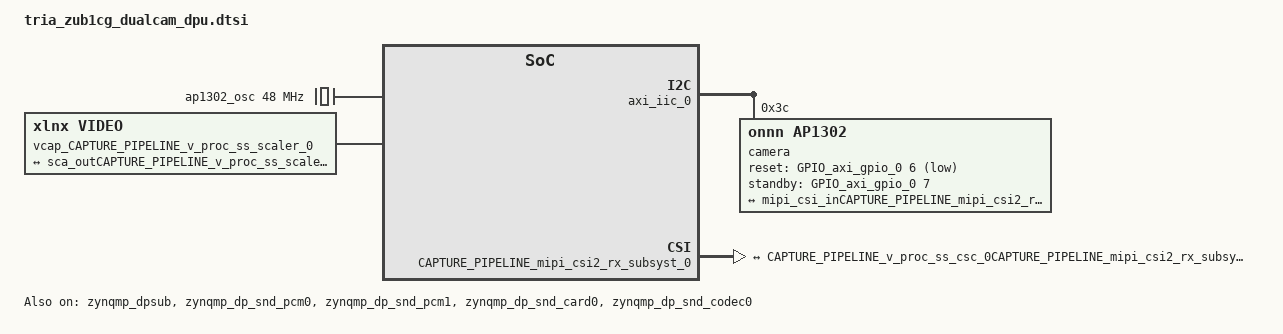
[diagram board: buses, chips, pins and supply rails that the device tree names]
/dts-v1/;
/plugin/;

#include <dt-bindings/gpio/gpio.h>
#include <dt-bindings/media/xilinx-vip.h>

&fpga_full {
	#address-cells = <2>;
	#size-cells = <2>;
	firmware-name = "tria_zub1cg_dualcam_dpu.bit.bin";
	resets = <&zynqmp_reset 116>, <&zynqmp_reset 117>, <&zynqmp_reset 118>, <&zynqmp_reset 119>;
};

&amba {
	afi0: afi0 {
		compatible = "xlnx,afi-fpga";
		//config-afi = <0 0>, <1 0>, <2 0>, <3 0>, <4 0>, <5 0>, <6 0>, <7 0>, <8 0>, <9 0>, <10 0>, <11 0>, <12 0>, <13 0>, <14 0xa00>, <15 0x000>;
		config-afi = <0 0>, <1 0>, <2 0>, <3 0>, <4 1>, <5 1>, <6 0>, <7 0>, <8 0>, <9 0>, <10 0>, <11 0>, <12 0>, <13 0>, <14 0xa00>, <15 0x000>;
		resets = <&zynqmp_reset 116>, <&zynqmp_reset 117>, <&zynqmp_reset 118>, <&zynqmp_reset 119>;
		reset-names = "pl0", "pl1", "pl2", "pl3";
	};		
};

// Added by 0xABBEEF
&amba {
	ap1302_osc: ap1302oscillator {
		compatible = "fixed-clock";
		#clock-cells = <0>;
		clock-frequency  = <48000000>;
		clock-output-names = "ap1302osc";
	};
	misc_clk_0: misc_clk_0 {
		#clock-cells = <0>;
		clock-frequency = <200000000>;
		compatible = "fixed-clock";
	};
};

&amba {
   axi_iic_0: i2c@a0010000 {
	#address-cells = <1>;
	#size-cells = <0>;
	clock-names = "s_axi_aclk";
	clocks = <&zynqmp_clk 71>;
	compatible = "xlnx,axi-iic-2.1", "xlnx,xps-iic-2.00.a";
	interrupt-names = "iic2intc_irpt";
	interrupt-parent = <&gic>;
	interrupts = <0 106 4>;
	reg = <0x0 0xa0010000 0x0 0x10000>;
			
	camera@3c {
		status = "okay";
		compatible = "onnn,ap1302";
		reg = <0x3c>;

		clocks = <&ap1302_osc>;

		reset-gpios = <&GPIO_axi_gpio_0 6 GPIO_ACTIVE_LOW>;
		standby-gpios = <&GPIO_axi_gpio_0 7 GPIO_ACTIVE_HIGH>;

		port@2 {
			reg = <2>;
			ias_out0: endpoint {
				remote-endpoint = <&mipi_csi_inCAPTURE_PIPELINE_mipi_csi2_rx_subsyst_0>;
				link-frequencies = /bits/ 64 <900000000>;
				clock-lanes = <0>;
				data-lanes = <1 2 3 4>;
			};
		};

		sensors {
			#address-cells = <1>;
			#size-cells = <0>;

			sensor,model = "ar0144";
			sensor,resolution = <1280 800>;
			sensor,format = <0x3011>; // MEDIA_BUS_FMT_SGRBG12_1X12
			sensor,primary-clk-rst-only;

			sensor@0 {
				reg = <0>;
				status = "okay";
				sip = <0x3320>;
			};

			sensor@1 {
				reg = <1>;
				status = "okay";
				sip = <0x3330>;
			};
		};
	};
   };
};

&amba {
		CAPTURE_PIPELINE_mipi_csi2_rx_subsyst_0: mipi_csi2_rx_subsystem@b0000000 {
			clock-names = "lite_aclk", "dphy_clk_200M", "video_aclk";
			clocks = <&misc_clk_0>, <&misc_clk_0>, <&misc_clk_0>;
			//compatible = "xlnx,mipi-csi2-rx-subsystem-5.2", "xlnx,mipi-csi2-rx-subsystem-5.0"; // Removed by 0xABBEEF
			compatible = "xlnx,mipi-csi2-rx-subsystem-5.0"; // Added by 0xABBEEF
			interrupt-names = "csirxss_csi_irq";
			interrupt-parent = <&gic>;
			interrupts = <0 104 4>;
			reg = <0x0 0xb0000000 0x0 0x2000>;
			xlnx,axis-tdata-width = <32>;
			//xlnx,csi-pxl-format = <0x18>; // Removed by 0xABBEEF
			xlnx,csi-pxl-format = <0x1e>; // XCSI_DT_YUV4228B  // Added by 0xABBEEF
			xlnx,dphy-present ;
			xlnx,en-active-lanes ;
			xlnx,max-lanes = <4>;
			xlnx,ppc = <1>;
			xlnx,vc = <4>;
			xlnx,vfb ;
			mipi_csi_portsCAPTURE_PIPELINE_mipi_csi2_rx_subsyst_0: ports {
				#address-cells = <1>;
				#size-cells = <0>;
				mipi_csi_port1CAPTURE_PIPELINE_mipi_csi2_rx_subsyst_0: port@1 {
					/* Fill cfa-pattern=rggb for raw data types, other fields video-format and video-width user needs to fill */
					reg = <1>;
					xlnx,cfa-pattern = "rggb";
					//xlnx,video-format = <12>; // Removed by 0xABBEEF
					xlnx,video-format = <XVIP_VF_YUV_422>; // Added by 0xABBEEF
					xlnx,video-width = <8>;
					mipi_csirx_outCAPTURE_PIPELINE_mipi_csi2_rx_subsyst_0: endpoint {
						remote-endpoint = <&CAPTURE_PIPELINE_v_proc_ss_csc_0CAPTURE_PIPELINE_mipi_csi2_rx_subsyst_0>;
					};
				};
				mipi_csi_port0CAPTURE_PIPELINE_mipi_csi2_rx_subsyst_0: port@0 {
					/* Fill cfa-pattern=rggb for raw data types, other fields video-format,video-width user needs to fill */
					/* User need to add something like remote-endpoint=<&out> under the node csiss_in:endpoint */
					reg = <0>;
					xlnx,cfa-pattern = "rggb";
					//xlnx,video-format = <12>; // Removed by 0xABBEEF
					xlnx,video-format = <XVIP_VF_YUV_422>; // Added by 0xABBEEF
					xlnx,video-width = <8>;
					mipi_csi_inCAPTURE_PIPELINE_mipi_csi2_rx_subsyst_0: endpoint {
						data-lanes = <1 2 3 4>;
						remote-endpoint = <&ias_out0>; // Added by 0xABBEEF
					};
				};
			};
		};
		CAPTURE_PIPELINE_v_frmbuf_wr_0: v_frmbuf_wr@b0020000 {
			#dma-cells = <1>;
			clock-names = "ap_clk";
			clocks = <&misc_clk_0>;
			compatible = "xlnx,v-frmbuf-wr-2.4", "xlnx,axi-frmbuf-wr-v2.2";
			interrupt-names = "interrupt";
			interrupt-parent = <&gic>;
			interrupts = <0 105 4>;
			reg = <0x0 0xb0020000 0x0 0x10000>;
			xlnx,dma-addr-width = <32>;
			xlnx,dma-align = <8>;
			xlnx,max-height = <2160>;
			xlnx,max-width = <3840>;
			xlnx,pixels-per-clock = <1>;
			xlnx,s-axi-ctrl-addr-width = <0x7>;
			xlnx,s-axi-ctrl-data-width = <0x20>;
			xlnx,vid-formats = "rgb888", "uyvy", "y8", "yuyv";
			xlnx,video-width = <8>;
			reset-gpios = <&GPIO_axi_gpio_0 3 GPIO_ACTIVE_LOW>; // Added by 0xABBEEF
		};
		CAPTURE_PIPELINE_v_proc_ss_csc_0: v_proc_ss@b0010000 {
			clock-names = "aclk";
			clocks = <&misc_clk_0>;
			#compatible = "xlnx,v-proc-ss-2.3", "xlnx,vpss-csc", "xlnx,v-vpss-csc"; // Removed by 0xABBEEF
			compatible = "xlnx,v-vpss-csc"; // Added by 0xABBEEF
			reg = <0x0 0xb0010000 0x0 0x10000>;
			xlnx,colorspace-support = <1>;
			xlnx,csc-enable-window = "true";
			xlnx,max-height = <2160>;
			xlnx,max-width = <3840>;
			xlnx,num-video-components = <3>;
			xlnx,samples-per-clk = <1>;
			xlnx,topology = <3>;
			xlnx,use-uram = <0>;
			xlnx,video-width = <8>;
			reset-gpios = <&GPIO_axi_gpio_0 4 GPIO_ACTIVE_LOW>; // Added by 0xABBEEF
			csc_portsCAPTURE_PIPELINE_v_proc_ss_csc_0: ports {
				#address-cells = <1>;
				#size-cells = <0>;
				csc_port1CAPTURE_PIPELINE_v_proc_ss_csc_0: port@1 {
					/* For xlnx,video-format user needs to fill as per their requirement */
					reg = <1>;
					//xlnx,video-format = <3>; // Removed by 0xABBEEF
					xlnx,video-format = <XVIP_VF_YUV_422>; // Added by 0xABBEEF
					xlnx,video-width = <8>;
					csc_outCAPTURE_PIPELINE_v_proc_ss_csc_0: endpoint {
						remote-endpoint = <&CAPTURE_PIPELINE_v_proc_ss_scaler_0CAPTURE_PIPELINE_v_proc_ss_csc_0>;
					};
				};
				csc_port0CAPTURE_PIPELINE_v_proc_ss_csc_0: port@0 {
					/* For xlnx,video-format user needs to fill as per their requirement */
					reg = <0>;
					//xlnx,video-format = <3>; // Removed by 0xABBEEF
					xlnx,video-format = <XVIP_VF_YUV_422>; // Added by 0xABBEEF
					xlnx,video-width = <8>;
					CAPTURE_PIPELINE_v_proc_ss_csc_0CAPTURE_PIPELINE_mipi_csi2_rx_subsyst_0: endpoint {
						remote-endpoint = <&mipi_csirx_outCAPTURE_PIPELINE_mipi_csi2_rx_subsyst_0>;
					};
				};
			};
		};
		CAPTURE_PIPELINE_v_proc_ss_scaler_0: v_proc_ss@b0040000 {
			clock-names = "aclk_axis", "aclk_ctrl";
			clocks = <&misc_clk_0>, <&misc_clk_0>;
			#compatible = "xlnx,v-proc-ss-2.3", "xlnx,vpss-scaler-2.2", "xlnx,v-vpss-scaler-2.2", "xlnx,vpss-scaler"; // Removed by 0xABBEEF
			compatible = "xlnx,v-vpss-scaler-2.2"; // Added by 0xABBEEF
			reg = <0x0 0xb0040000 0x0 0x40000>;
			xlnx,colorspace-support = <1>;
			xlnx,csc-enable-window = "true";
			xlnx,enable-csc = "true";
			xlnx,h-scaler-phases = <64>;
			xlnx,h-scaler-taps = <8>;
			xlnx,max-height = <2160>;
			xlnx,max-num-phases = <64>;
			xlnx,max-width = <3840>;
			xlnx,num-hori-taps = <8>;
			xlnx,num-vert-taps = <8>;
			xlnx,pix-per-clk = <1>;
			xlnx,samples-per-clk = <1>;
			xlnx,scaler-algorithm = <2>;
			xlnx,topology = <0>;
			xlnx,use-uram = <0>;
			xlnx,v-scaler-phases = <64>;
			xlnx,v-scaler-taps = <8>;
			xlnx,video-width = <8>;
			reset-gpios = <&GPIO_axi_gpio_0 5 GPIO_ACTIVE_LOW>; // Added by 0xABBEEF
			scaler_portsCAPTURE_PIPELINE_v_proc_ss_scaler_0: ports {
				#address-cells = <1>;
				#size-cells = <0>;
				scaler_port1CAPTURE_PIPELINE_v_proc_ss_scaler_0: port@1 {
					/* For xlnx,video-format user needs to fill as per their requirement */
					reg = <1>;
					//xlnx,video-format = <3>; // Removed by 0xABBEEF
					xlnx,video-format = <XVIP_VF_YUV_422>; // Added by 0xABBEEF
					xlnx,video-width = <8>;
					sca_outCAPTURE_PIPELINE_v_proc_ss_scaler_0: endpoint {
						remote-endpoint = <&CAPTURE_PIPELINE_v_frmbuf_wr_0CAPTURE_PIPELINE_v_proc_ss_scaler_0>;
					};
				};
				scaler_port0CAPTURE_PIPELINE_v_proc_ss_scaler_0: port@0 {
					/* For xlnx,video-format user needs to fill as per their requirement */
					reg = <0>;
					//xlnx,video-format = <3>; // Removed by 0xABBEEF
					xlnx,video-format = <XVIP_VF_YUV_422>; // Added by 0xABBEEF
					xlnx,video-width = <8>;
					CAPTURE_PIPELINE_v_proc_ss_scaler_0CAPTURE_PIPELINE_v_proc_ss_csc_0: endpoint {
						remote-endpoint = <&csc_outCAPTURE_PIPELINE_v_proc_ss_csc_0>;
					};
				};
			};
		};
		GPIO_axi_gpio_0: gpio@a0000000 {
			#gpio-cells = <2>;
			clock-names = "s_axi_aclk";
			clocks = <&zynqmp_clk 71>;
			compatible = "xlnx,axi-gpio-2.0", "xlnx,xps-gpio-1.00.a";
			gpio-controller ;
			reg = <0x0 0xa0000000 0x0 0x10000>;
			xlnx,all-inputs = <0x0>;
			xlnx,all-inputs-2 = <0x0>;
			xlnx,all-outputs = <0x1>;
			xlnx,all-outputs-2 = <0x0>;
			xlnx,dout-default = <0x00000000>;
			xlnx,dout-default-2 = <0x00000000>;
			xlnx,gpio-width = <0x8>;
			xlnx,gpio2-width = <0x20>;
			xlnx,interrupt-present = <0x0>;
			xlnx,is-dual = <0x0>;
			xlnx,tri-default = <0xFFFFFFFF>;
			xlnx,tri-default-2 = <0xFFFFFFFF>;
		};
		system_management_wiz_0: system_management_wiz@a0030000 {
			clock-names = "s_axi_aclk";
			clocks = <&zynqmp_clk 71>;
			compatible = "xlnx,system-management-wiz-1.3";
			reg = <0x0 0xa0030000 0x0 0x10000>;
			xlnx,alarm-limit-r0 = <0xb794>;
			xlnx,alarm-limit-r1 = <0x4e81>;
			xlnx,alarm-limit-r10 = <0x4963>;
			xlnx,alarm-limit-r11 = <0x451e>;
			xlnx,alarm-limit-r12 = <0x4963>;
			xlnx,alarm-limit-r13 = <0x451e>;
			xlnx,alarm-limit-r14 = <0x9a74>;
			xlnx,alarm-limit-r15 = <0x91eb>;
			xlnx,alarm-limit-r2 = <0xa147>;
			xlnx,alarm-limit-r3 = <0xcba3>;
			xlnx,alarm-limit-r4 = <0xab03>;
			xlnx,alarm-limit-r5 = <0x4963>;
			xlnx,alarm-limit-r6 = <0x9555>;
			xlnx,alarm-limit-r7 = <0xb00a>;
			xlnx,alarm-limit-r8 = <0x4e81>;
			xlnx,alarm-limit-r9 = <0x4963>;
			xlnx,alarm-limit-slave0-ssit-usl1 = <0x4c5e>;
			xlnx,alarm-limit-slave0-ssit-usl2 = <0x4bf2>;
			xlnx,alarm-limit-slave0-ssit-usl3 = <0x98bf>;
			xlnx,alarm-limit-slave0-ssit-usl4 = <0x98bf>;
			xlnx,alarm-limit-slave0-ssit-usu1 = <0x4d39>;
			xlnx,alarm-limit-slave0-ssit-usu2 = <0x4da7>;
			xlnx,alarm-limit-slave0-ssit-usu3 = <0x9a74>;
			xlnx,alarm-limit-slave0-ssit-usu4 = <0x9a74>;
			xlnx,alarm-limit-slave1-ssit-usl1 = <0x4c5e>;
			xlnx,alarm-limit-slave1-ssit-usl2 = <0x4bf2>;
			xlnx,alarm-limit-slave1-ssit-usl3 = <0x98bf>;
			xlnx,alarm-limit-slave1-ssit-usl4 = <0x98bf>;
			xlnx,alarm-limit-slave1-ssit-usu1 = <0x4d39>;
			xlnx,alarm-limit-slave1-ssit-usu2 = <0x4da7>;
			xlnx,alarm-limit-slave1-ssit-usu3 = <0x9a74>;
			xlnx,alarm-limit-slave1-ssit-usu4 = <0x9a74>;
			xlnx,alarm-limit-slave2-ssit-usl1 = <0x4c5e>;
			xlnx,alarm-limit-slave2-ssit-usl2 = <0x4bf2>;
			xlnx,alarm-limit-slave2-ssit-usl3 = <0x98bf>;
			xlnx,alarm-limit-slave2-ssit-usl4 = <0x98bf>;
			xlnx,alarm-limit-slave2-ssit-usu1 = <0x4d39>;
			xlnx,alarm-limit-slave2-ssit-usu2 = <0x4da7>;
			xlnx,alarm-limit-slave2-ssit-usu3 = <0x9a74>;
			xlnx,alarm-limit-slave2-ssit-usu4 = <0x9a74>;
			xlnx,alarm-limit-usl1 = <0x4c5e>;
			xlnx,alarm-limit-usl2 = <0x4bf2>;
			xlnx,alarm-limit-usl3 = <0x98bf>;
			xlnx,alarm-limit-usl4 = <0x98bf>;
			xlnx,alarm-limit-usu1 = <0x4d39>;
			xlnx,alarm-limit-usu2 = <0x4da7>;
			xlnx,alarm-limit-usu3 = <0x9a74>;
			xlnx,alarm-limit-usu4 = <0x9a74>;
			xlnx,average-en-slave0-ssit-vuser0 = <0x0>;
			xlnx,average-en-slave0-ssit-vuser1 = <0x0>;
			xlnx,average-en-slave0-ssit-vuser2 = <0x0>;
			xlnx,average-en-slave0-ssit-vuser3 = <0x0>;
			xlnx,average-en-slave1-ssit-vuser0 = <0x0>;
			xlnx,average-en-slave1-ssit-vuser1 = <0x0>;
			xlnx,average-en-slave1-ssit-vuser2 = <0x0>;
			xlnx,average-en-slave1-ssit-vuser3 = <0x0>;
			xlnx,average-en-slave2-ssit-vuser0 = <0x0>;
			xlnx,average-en-slave2-ssit-vuser1 = <0x0>;
			xlnx,average-en-slave2-ssit-vuser2 = <0x0>;
			xlnx,average-en-slave2-ssit-vuser3 = <0x0>;
			xlnx,average-en-vuser0 = <0x0>;
			xlnx,average-en-vuser1 = <0x0>;
			xlnx,average-en-vuser2 = <0x0>;
			xlnx,average-en-vuser3 = <0x0>;
			xlnx,avg-slave0-ssit-vuser = <0x0>;
			xlnx,avg-slave1-ssit-vuser = <0x0>;
			xlnx,avg-slave2-ssit-vuser = <0x0>;
			xlnx,avg-vuser = <0x0>;
			xlnx,channel-cnt = <0x5>;
			xlnx,common-n-source = "Null";
			xlnx,configuration-r0 = <0x0>;
			xlnx,configuration-r1 = <0x2f9f>;
			xlnx,configuration-r2 = <0x1400>;
			xlnx,configuration-r3 = <0xf>;
			xlnx,configuration-r4 = <0x0>;
			xlnx,configuration-r4-1 = <0xc>;
			xlnx,configuration-r4-2 = <0xd>;
			xlnx,configuration-r4-3 = <0xe>;
			xlnx,configuration-r4-4 = <0xa>;
			xlnx,configuration-slave0-ssit-r3 = <0xf>;
			xlnx,configuration-slave0-ssit-r4-1 = <0xc>;
			xlnx,configuration-slave0-ssit-r4-2 = <0xd>;
			xlnx,configuration-slave0-ssit-r4-3 = <0xe>;
			xlnx,configuration-slave0-ssit-r4-4 = <0xa>;
			xlnx,configuration-slave1-ssit-r3 = <0xf>;
			xlnx,configuration-slave1-ssit-r4-1 = <0xc>;
			xlnx,configuration-slave1-ssit-r4-2 = <0xd>;
			xlnx,configuration-slave1-ssit-r4-3 = <0xe>;
			xlnx,configuration-slave1-ssit-r4-4 = <0xa>;
			xlnx,configuration-slave2-ssit-r3 = <0xf>;
			xlnx,configuration-slave2-ssit-r4-1 = <0xc>;
			xlnx,configuration-slave2-ssit-r4-2 = <0xd>;
			xlnx,configuration-slave2-ssit-r4-3 = <0xe>;
			xlnx,configuration-slave2-ssit-r4-4 = <0xa>;
			xlnx,dclk-frequency = <0x64>;
			xlnx,div-vuser0 = <0x6>;
			xlnx,div-vuser0-slave0 = <0x6>;
			xlnx,div-vuser0-slave1 = <0x6>;
			xlnx,div-vuser0-slave2 = <0x6>;
			xlnx,div-vuser1 = <0x3>;
			xlnx,div-vuser1-slave0 = <0x3>;
			xlnx,div-vuser1-slave1 = <0x3>;
			xlnx,div-vuser1-slave2 = <0x3>;
			xlnx,div-vuser2 = <0x3>;
			xlnx,div-vuser2-slave0 = <0x3>;
			xlnx,div-vuser2-slave1 = <0x3>;
			xlnx,div-vuser2-slave2 = <0x3>;
			xlnx,div-vuser3 = <0x3>;
			xlnx,div-vuser3-slave0 = <0x3>;
			xlnx,div-vuser3-slave1 = <0x3>;
			xlnx,div-vuser3-slave2 = <0x3>;
			xlnx,dual-seq = <0x0>;
			xlnx,dual-sequence-r0 = <0x0>;
			xlnx,dual-sequence-r1 = <0x0>;
			xlnx,dual-sequence-r2 = <0x0>;
			xlnx,dual0-register = <0x0>;
			xlnx,dual1-register = <0x0>;
			xlnx,dual2-register = <0x0>;
			xlnx,dual3-register = <0x0>;
			xlnx,enable-adc-data-out-master = <0x0>;
			xlnx,enable-adc-data-out-slave0 = <0x0>;
			xlnx,enable-adc-data-out-slave1 = <0x0>;
			xlnx,enable-adc-data-out-slave2 = <0x0>;
			xlnx,enable-dual-sequence-mode = <0x0>;
			xlnx,enable-slave0 = <0x0>;
			xlnx,enable-slave1 = <0x0>;
			xlnx,enable-slave2 = <0x0>;
			xlnx,external-mux-channel = "VP_VN";
			xlnx,external-muxaddr-enable = <0x0>;
			xlnx,fifo-depth = <0x7>;
			xlnx,has-axi = <0x1>;
			xlnx,has-axi4stream = <0x0>;
			xlnx,has-busy = <0x1>;
			xlnx,has-channel = <0x1>;
			xlnx,has-convst = <0x0>;
			xlnx,has-convstclk = <0x0>;
			xlnx,has-dclk = <0x1>;
			xlnx,has-drp = <0x0>;
			xlnx,has-eoc = <0x1>;
			xlnx,has-eos = <0x1>;
			xlnx,has-external-mux = <0x0>;
			xlnx,has-i2c = <0x0>;
			xlnx,has-i2c-slave = <0x0>;
			xlnx,has-jtagbusy = <0x0>;
			xlnx,has-jtaglocked = <0x0>;
			xlnx,has-jtagmodified = <0x0>;
			xlnx,has-ot-alarm = <0x0>;
			xlnx,has-pmbus = <0x0>;
			xlnx,has-pmc = <0x0>;
			xlnx,has-pmc-master = <0x0>;
			xlnx,has-reset = <0x0>;
			xlnx,has-slave0-ssit-temp-ch = <0x1>;
			xlnx,has-slave0-ssit-vuser0 = <0x0>;
			xlnx,has-slave0-ssit-vuser1 = <0x0>;
			xlnx,has-slave0-ssit-vuser2 = <0x0>;
			xlnx,has-slave0-ssit-vuser3 = <0x0>;
			xlnx,has-slave1-ssit-temp-ch = <0x1>;
			xlnx,has-slave1-ssit-vuser0 = <0x0>;
			xlnx,has-slave1-ssit-vuser1 = <0x0>;
			xlnx,has-slave1-ssit-vuser2 = <0x0>;
			xlnx,has-slave1-ssit-vuser3 = <0x0>;
			xlnx,has-slave2-ssit-temp-ch = <0x1>;
			xlnx,has-slave2-ssit-vuser0 = <0x0>;
			xlnx,has-slave2-ssit-vuser1 = <0x0>;
			xlnx,has-slave2-ssit-vuser2 = <0x0>;
			xlnx,has-slave2-ssit-vuser3 = <0x0>;
			xlnx,has-temp-bus = <0x0>;
			xlnx,has-under-ot-alarm = <0x0>;
			xlnx,has-under-temp-alarm = <0x0>;
			xlnx,has-user-supply0-alarm = <0x0>;
			xlnx,has-user-supply0-slave0-ssit-alarm = <0x0>;
			xlnx,has-user-supply0-slave1-ssit-alarm = <0x0>;
			xlnx,has-user-supply0-slave2-ssit-alarm = <0x0>;
			xlnx,has-user-supply1-alarm = <0x0>;
			xlnx,has-user-supply1-slave0-ssit-alarm = <0x0>;
			xlnx,has-user-supply1-slave1-ssit-alarm = <0x0>;
			xlnx,has-user-supply1-slave2-ssit-alarm = <0x0>;
			xlnx,has-user-supply2-alarm = <0x0>;
			xlnx,has-user-supply2-slave0-ssit-alarm = <0x0>;
			xlnx,has-user-supply2-slave1-ssit-alarm = <0x0>;
			xlnx,has-user-supply2-slave2-ssit-alarm = <0x0>;
			xlnx,has-user-supply3-alarm = <0x0>;
			xlnx,has-user-supply3-slave0-ssit-alarm = <0x0>;
			xlnx,has-user-supply3-slave1-ssit-alarm = <0x0>;
			xlnx,has-user-supply3-slave2-ssit-alarm = <0x0>;
			xlnx,has-user-temp-alarm = <0x0>;
			xlnx,has-vbram-alarm = <0x0>;
			xlnx,has-vccaux-alarm = <0x0>;
			xlnx,has-vccddro-alarm = <0x0>;
			xlnx,has-vccint-alarm = <0x0>;
			xlnx,has-vccpaux-alarm = <0x0>;
			xlnx,has-vccpint-alarm = <0x0>;
			xlnx,has-vccpsaux-alarm = <0x0>;
			xlnx,has-vccpsintfp-alarm = <0x0>;
			xlnx,has-vccpsintlp-alarm = <0x0>;
			xlnx,has-vn = <0x1>;
			xlnx,has-vp = <0x1>;
			xlnx,has-vuser0 = <0x0>;
			xlnx,has-vuser1 = <0x0>;
			xlnx,has-vuser2 = <0x0>;
			xlnx,has-vuser3 = <0x0>;
			xlnx,i2c-clk-period = "2500.000";
			xlnx,i2c-sclk-loc = "F3";
			xlnx,i2c-sda-loc = "D2";
			xlnx,i2c-slave-address = <0x20>;
			xlnx,i2c-slave0-address = <0x20>;
			xlnx,i2c-slave1-address = <0x20>;
			xlnx,i2c-slave2-address = <0x20>;
			xlnx,include-intr = <0x1>;
			xlnx,is-diablo = <0x1>;
			xlnx,is-ssit-slave0 = <0x0>;
			xlnx,is-ssit-slave0-analog-bank = <0x0>;
			xlnx,is-ssit-slave1 = <0x0>;
			xlnx,is-ssit-slave1-analog-bank = <0x0>;
			xlnx,is-ssit-slave2 = <0x0>;
			xlnx,is-ssit-slave2-analog-bank = <0x0>;
			xlnx,sampling-rate = "192307.6923076923";
			xlnx,sequence-r0 = <0x4701>;
			xlnx,sequence-r1 = <0x0>;
			xlnx,sequence-r2 = <0x0>;
			xlnx,sequence-r3 = <0x0>;
			xlnx,sequence-r4 = <0x0>;
			xlnx,sequence-r5 = <0x0>;
			xlnx,sequence-r6 = <0x0>;
			xlnx,sequence-r7 = <0x0>;
			xlnx,sequence-r8 = <0x0>;
			xlnx,sequence-slave0-ssit-r0 = <0x100>;
			xlnx,sequence-slave0-ssit-r8 = <0x0>;
			xlnx,sequence-slave1-ssit-r0 = <0x100>;
			xlnx,sequence-slave1-ssit-r8 = <0x0>;
			xlnx,sequence-slave2-ssit-r0 = <0x100>;
			xlnx,sequence-slave2-ssit-r8 = <0x0>;
			xlnx,sim-device = "ZYNQ_ULTRASCALE";
			xlnx,sim-file-name = "design";
			xlnx,sim-file-rel-path = "./";
			xlnx,sim-file-sel = "Default";
			xlnx,user-supply0-bank = <0x2c>;
			xlnx,user-supply0-slave0-ssit-bank = <0x2c>;
			xlnx,user-supply0-slave0-ssit-source = "VCCO";
			xlnx,user-supply0-slave1-ssit-bank = <0x2c>;
			xlnx,user-supply0-slave1-ssit-source = "VCCO";
			xlnx,user-supply0-slave2-ssit-bank = <0x2c>;
			xlnx,user-supply0-slave2-ssit-source = "VCCO";
			xlnx,user-supply0-source = "VCCO";
			xlnx,user-supply1-bank = <0x2c>;
			xlnx,user-supply1-slave0-ssit-bank = <0x2c>;
			xlnx,user-supply1-slave0-ssit-source = "VCCINT";
			xlnx,user-supply1-slave1-ssit-bank = <0x2c>;
			xlnx,user-supply1-slave1-ssit-source = "VCCINT";
			xlnx,user-supply1-slave2-ssit-bank = <0x2c>;
			xlnx,user-supply1-slave2-ssit-source = "VCCINT";
			xlnx,user-supply1-source = "VCCINT";
			xlnx,user-supply2-bank = <0x2c>;
			xlnx,user-supply2-slave0-ssit-bank = <0x2c>;
			xlnx,user-supply2-slave0-ssit-source = "VCCAUX";
			xlnx,user-supply2-slave1-ssit-bank = <0x2c>;
			xlnx,user-supply2-slave1-ssit-source = "VCCAUX";
			xlnx,user-supply2-slave2-ssit-bank = <0x2c>;
			xlnx,user-supply2-slave2-ssit-source = "VCCAUX";
			xlnx,user-supply2-source = "VCCAUX";
			xlnx,user-supply3-bank = <0x41>;
			xlnx,user-supply3-slave0-ssit-bank = <0x41>;
			xlnx,user-supply3-slave0-ssit-source = "VCCO";
			xlnx,user-supply3-slave1-ssit-bank = <0x41>;
			xlnx,user-supply3-slave1-ssit-source = "VCCO";
			xlnx,user-supply3-slave2-ssit-bank = <0x41>;
			xlnx,user-supply3-slave2-ssit-source = "VCCO";
			xlnx,user-supply3-source = "VCCO";
			xlnx,vaux0 = <0x0>;
			xlnx,vaux1 = <0x0>;
			xlnx,vaux10 = <0x0>;
			xlnx,vaux11 = <0x0>;
			xlnx,vaux12 = <0x0>;
			xlnx,vaux13 = <0x0>;
			xlnx,vaux14 = <0x0>;
			xlnx,vaux15 = <0x0>;
			xlnx,vaux2 = <0x0>;
			xlnx,vaux3 = <0x0>;
			xlnx,vaux4 = <0x0>;
			xlnx,vaux5 = <0x0>;
			xlnx,vaux6 = <0x0>;
			xlnx,vaux7 = <0x0>;
			xlnx,vaux8 = <0x0>;
			xlnx,vaux9 = <0x0>;
			xlnx,vauxn0-loc = "A6";
			xlnx,vauxn1-loc = "B5";
			xlnx,vauxn10-loc = "F6";
			xlnx,vauxn11-loc = "G5";
			xlnx,vauxn12-loc = "L29";
			xlnx,vauxn13-loc = "K30";
			xlnx,vauxn14-loc = "M27";
			xlnx,vauxn15-loc = "M32";
			xlnx,vauxn2-loc = "A7";
			xlnx,vauxn3-loc = "A9";
			xlnx,vauxn4-loc = "C7";
			xlnx,vauxn5-loc = "C5";
			xlnx,vauxn6-loc = "D8";
			xlnx,vauxn7-loc = "D6";
			xlnx,vauxn8-loc = "F7";
			xlnx,vauxn9-loc = "E5";
			xlnx,vauxp0-loc = "B7";
			xlnx,vauxp1-loc = "B6";
			xlnx,vauxp10-loc = "G7";
			xlnx,vauxp11-loc = "G6";
			xlnx,vauxp12-loc = "L28";
			xlnx,vauxp13-loc = "L30";
			xlnx,vauxp14-loc = "N27";
			xlnx,vauxp15-loc = "M31";
			xlnx,vauxp2-loc = "A8";
			xlnx,vauxp3-loc = "B9";
			xlnx,vauxp4-loc = "C8";
			xlnx,vauxp5-loc = "D5";
			xlnx,vauxp6-loc = "E8";
			xlnx,vauxp7-loc = "D7";
			xlnx,vauxp8-loc = "F8";
			xlnx,vauxp9-loc = "E6";
			xlnx,vpvn = <0x0>;
		};
		zocl: zyxclmm_drm {
			compatible = "xlnx,zocl";
			status = "okay";
			interrupt-parent = <&gic>;
			interrupts = <0 89  4>, <0 90  4>, <0 91  4>, <0 92  4>,
				     <0 93  4>, <0 94  4>, <0 95  4>, <0 96  4>;
		};
		vcap_CAPTURE_PIPELINE_v_proc_ss_scaler_0 {
			compatible = "xlnx,video";
			dma-names = "port0";
			dmas = <&CAPTURE_PIPELINE_v_frmbuf_wr_0 0>;
			vcap_portsCAPTURE_PIPELINE_v_proc_ss_scaler_0: ports {
				#address-cells = <1>;
				#size-cells = <0>;
				vcap_portCAPTURE_PIPELINE_v_proc_ss_scaler_0: port@0 {
					direction = "input";
					reg = <0>;
					CAPTURE_PIPELINE_v_frmbuf_wr_0CAPTURE_PIPELINE_v_proc_ss_scaler_0: endpoint {
						remote-endpoint = <&sca_outCAPTURE_PIPELINE_v_proc_ss_scaler_0>;
					};
				};
			};
		};

};

&zynqmp_dpsub {
	status = "okay";		
};
&zynqmp_dp_snd_pcm0 {
	status = "okay";		
};
&zynqmp_dp_snd_pcm1 {
	status = "okay";		
};
&zynqmp_dp_snd_card0 {
	status = "okay";		
};
&zynqmp_dp_snd_codec0 {
	status = "okay";		
};

